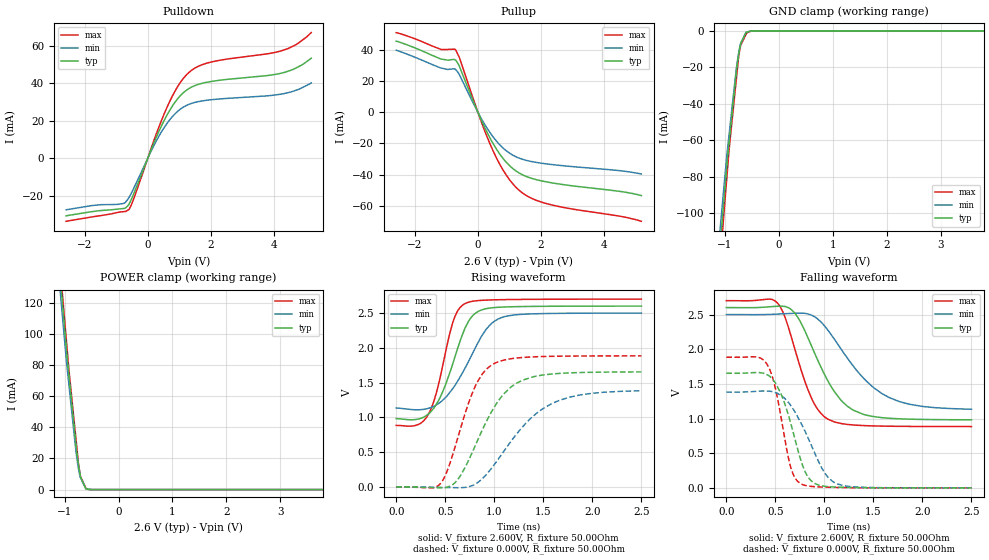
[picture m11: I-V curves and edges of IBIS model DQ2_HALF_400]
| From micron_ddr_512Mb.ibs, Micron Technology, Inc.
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|   MODEL DQ2_HALF_400
[Model]   DQ2_HALF_400
Model_type   I/O
Vinl = 0.990V
Vinh = 1.610V
Vmeas = 1.300V
Vref = 1.300V
Cref = 30.000pF
Rref = 50.000Ohm
|   typ   min   max
C_comp   3.30pF   3.15pF   3.45pF
[Model Spec]
| Input threshold voltage corners
Vinh   1.610V   1.560V   1.660V
Vinl   0.990V   0.940V   1.040V
| Measurement voltage corners
Vmeas   1.300V   1.250V   1.350V
| Timing spec test load voltage corners
Vref   1.300V   1.250V   1.350V
| Overshoot/Undershoot
S_overshoot_high   2.900V   2.800V   3.000V
S_overshoot_low   -0.300V   -0.300V   -0.300V
D_overshoot_high   4.100V   4.000V   4.200V
D_overshoot_low   -1.500V   -1.500V   -1.500V
D_overshoot_time   1.667n   1.667n   1.667n
[Receiver Thresholds]
Vth   =  1.300V
Vth_min  =  1.274V
Vth_max  =  1.326V
Vinh_ac  =  0.310V
Vinh_dc  =  0.150V
Vinl_ac  = -0.310V
Vinl_dc  = -0.150V
Tslew_ac =  10.000ns |Not specified, so set to high value
Threshold_sensitivity = 0.50
Reference_supply Pullup_ref
[Voltage Range]   2.600V   2.500V   2.700V
[Pullup Reference]   2.600V   2.500V   2.700V
| Junction Temperature (Ambient temp is 25C typ, 70C min, 0C max)
[Temperature Range]   40.0   85.0   0.0
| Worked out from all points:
|   slope of the pulldown table from 0 to 0.39 V, typ, clamps not added: 24.9 ohm
|   slope of the pullup table from 0 to 0.39 V, typ, clamps not added: 23.3 ohm
|   GND clamp passes 1 mA (typ) near -0.61 V on its own axis
|   POWER clamp passes 1 mA (typ) near -0.61 V on its own axis
|   falling waveform, V_fixture 2.600V, R_fixture 50.00Ohm: 20-80 % time 350ps typ, 479ps min, 256ps max; typ from 2.6 V to 0.981 V
|   rising waveform, V_fixture 2.600V, R_fixture 50.00Ohm: 20-80 % time 246ps typ, 325ps min, 185ps max; typ from 0.981 V to 2.6 V
|   rising waveform, V_fixture 0.000V, R_fixture 50.00Ohm: 20-80 % time 369ps typ, 500ps min, 271ps max; typ from 0 V to 1.65 V
|   falling waveform, V_fixture 0.000V, R_fixture 50.00Ohm: 20-80 % time 209ps typ, 282ps min, 154ps max; typ from 1.65 V to 0 V
[Pulldown]
|   Voltage   I(typ)   I(min)   I(max)
-2.6V     -30.77mA   -27.58mA   -33.72mA
-790mV    -26.92mA   -24.25mA   -28.58mA
-595mV    -24.49mA   -20.95mA   -27.36mA
-435mV    -18.5mA    -15.63mA   -21.07mA
200mV     8.407mA    6.949mA    9.702mA
555mV     21.27mA    17.22mA    25.02mA
965mV     32.06mA    25.24mA    38.62mA
1.37V     37.79mA    29.15mA    46.66mA
2.04V     41.05mA    31.26mA    51.46mA
4.245V    45.42mA    34.25mA    57.31mA
4.73V     48.31mA    36.38mA    60.76mA
5.2V      53.38mA    40.18mA    67.1mA
[GND Clamp]
|   Voltage   I(typ)   I(min)   I(max)
-2.6V     -701.1mA   -665.4mA   -738.2mA
-1.155V   -140.9mA   -130.7mA   -150.9mA
-965mV    -74.84mA   -68.68mA   -81.13mA
-920mV    -60.97mA   -56.47mA   -64.75mA
-790mV    -23.51mA   -21.24mA   -27.35mA
-775mV    -19.23mA   -18.2mA    -23.04mA
-750mV    -14.15mA   -13.21mA   -15.84mA
-740mV    -12.12mA   -11.57mA   -13.09mA
-705mV    -6.759mA   -7.05mA    -7.792mA
-605mV    -842.3uA   -757.2uA   -1.801mA
-430mV    -8.071uA   -6.269uA   -12.88uA
5.2V      0A         0A         0A
[Pullup]
|   Voltage   I(typ)   I(min)   I(max)
-2.6V     45.84mA    39.98mA    51.34mA
-1.16V    34.27mA    28.48mA    40.41mA
-705mV    33.62mA    27.52mA    40.13mA
-595mV    29.89mA    24.49mA    35.55mA
115mV     -5.362mA   -4.275mA   -6.502mA
480mV     -19.98mA   -15.72mA   -24.64mA
925mV     -32.58mA   -25.05mA   -41.11mA
1.12V     -36.32mA   -27.65mA   -46.26mA
1.395V    -39.95mA   -30.05mA   -51.53mA
1.73V     -42.61mA   -31.75mA   -55.52mA
2.28V     -45.12mA   -33.41mA   -59.23mA
5.2V      -53.54mA   -39.65mA   -70.11mA
[POWER Clamp]
|   Voltage   I(typ)   I(min)   I(max)
-2.6V     793.4mA    770.1mA    815mA
-1.155V   165.3mA    155.5mA    171.9mA
-965mV    89.88mA    82.01mA    94.86mA
-920mV    73.67mA    67.23mA    76.74mA
-790mV    29.28mA    24.56mA    32.7mA
-775mV    24.2mA     20.89mA    27.61mA
-750mV    17.81mA    14.87mA    19.14mA
-715mV    10.1mA     8.319mA    10.33mA
-705mV    8.211mA    7.593mA    8.312mA
-610mV    818.7uA    692.1uA    1.319mA
-595mV    479.7uA    547.7uA    253.3uA
5.2V      0A         0A         0A
[Ramp]
R_load = 50.00Ohm
|   typ   min   max
dV/dt_r   991.912mV/368.579ps 829.168mV/500.047ps   1.130V/270.877ps
dV/dt_f   971.105mV/349.654ps 819.015mV/478.658ps   1.090V/255.794ps
[Falling Waveform]
V_fixture = 2.600V
V_fixture_min = 2.500V
V_fixture_max = 2.700V
R_fixture = 50.00Ohm
|   Time   V(typ)   V(min)   V(max)
0s        2.6V       2.5V       2.7V
530ps     2.62V      2.507V     2.651V
600ps     2.616V     2.512V     2.455V
710ps     2.498V     2.518V     1.947V
880ps     2.009V     2.482V     1.258V
1.04ns    1.532V     2.266V     987mV
1.29ns    1.124V     1.765V     907.8mV
1.59ns    1.012V     1.357V     890.5mV
1.87ns    990.8mV    1.205V     886.1mV
2.5ns     981.4mV    1.134V     883.6mV
[Rising Waveform]
V_fixture = 2.600V
V_fixture_min = 2.500V
V_fixture_max = 2.700V
R_fixture = 50.00Ohm
|   Time   V(typ)   V(min)   V(max)
0s        981.4mV    1.134V     883.6mV
200ps     969.1mV    1.108V     884.6mV
310ps     1.028V     1.122V     1V
410ps     1.191V     1.179V     1.355V
580ps     1.784V     1.42V      2.377V
700ps     2.278V     1.702V     2.634V
790ps     2.476V     1.951V     2.672V
920ps     2.563V     2.27V      2.686V
1.1ns     2.587V     2.447V     2.693V
2.5ns     2.6V       2.5V       2.7V
[Rising Waveform]
V_fixture = 0.000V
V_fixture_min = 0.000V
V_fixture_max = 0.000V
R_fixture = 50.00Ohm
|   Time   V(typ)   V(min)   V(max)
0s        59.14uV    -93.01uV   17.79uV
380ps     -10.73mV   -5.56mV    -12.45mV
460ps     -13.8mV    -7.74mV    63.31mV
530ps     960.4uV    -9.69mV    266.7mV
630ps     109.4mV    -12.26mV   714.9mV
800ps     573.9mV    32.93mV    1.428V
1ns       1.147V     318.9mV    1.774V
1.23ns    1.492V     763mV      1.853V
1.59ns    1.624V     1.2V       1.877V
2.5ns     1.653V     1.382V     1.884V
[Falling Waveform]
V_fixture = 0.000V
V_fixture_min = 0.000V
V_fixture_max = 0.000V
R_fixture = 50.00Ohm
|   Time   V(typ)   V(min)   V(max)
0s        1.653V     1.382V     1.884V
310ps     1.663V     1.392V     1.888V
420ps     1.628V     1.396V     1.769V
510ps     1.489V     1.369V     1.374V
650ps     966.8mV    1.202V     330.6mV
760ps     399.4mV    936.2mV    58.8mV
870ps     96.77mV    604.2mV    20.54mV
1.01ns    22.31mV    202.2mV    9.99mV
1.13ns    10.76mV    58.15mV    5.849mV
2.5ns     59.14uV    -93.01uV   17.79uV
